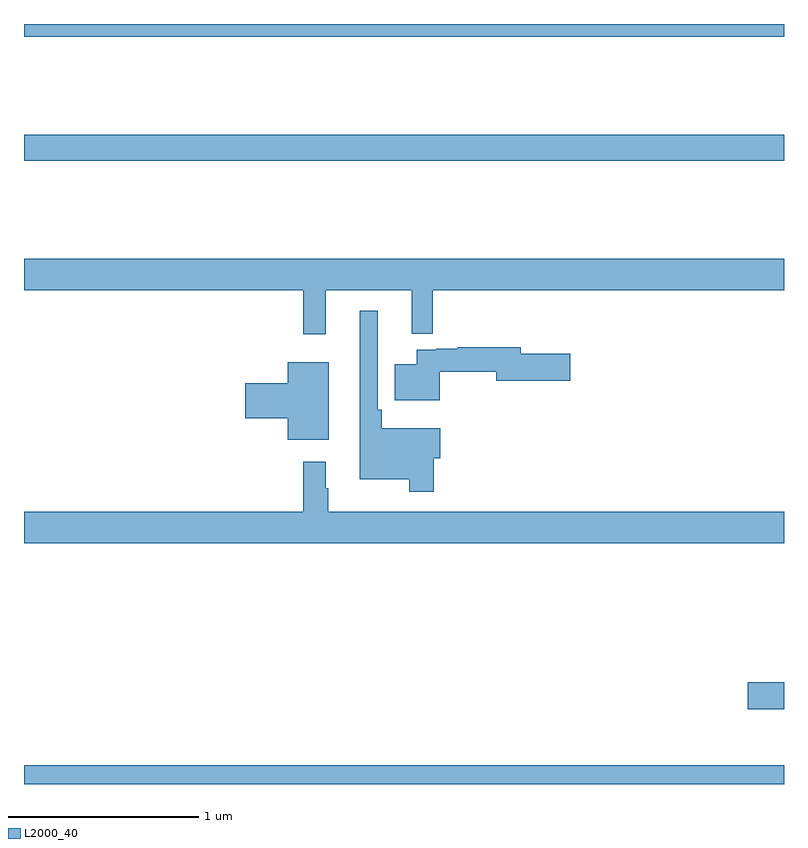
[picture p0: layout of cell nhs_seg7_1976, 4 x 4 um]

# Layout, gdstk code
import gdstk
lib = gdstk.Library(unit=1e-6, precision=1e-09)
def R(c, l, rs):  # rectangles x0, y0, x1, y1
    for r in rs: c.add(gdstk.rectangle(r[:2], r[2:], *l))
def P(c, l, *ps):  # polygons
    for p in ps: c.add(gdstk.Polygon(p, *l))
L2000_40 = (2000, 40)

nhs_seg7_1976 = lib.new_cell('nhs_seg7_1976')
R(nhs_seg7_1976, L2000_40, [(243,1014,247,1014.1), (246.81,1014.394,247,1014.536), (243,1017.28,247,1017.416), (243,1017.932,247,1018)])
P(nhs_seg7_1976, L2000_40, [(244.589,1016.6),(245.042,1016.6),(245.042,1016.371),(245.15,1016.371),(245.15,1016.6),(247,1016.6),(247,1016.764),(243,1016.764),(243,1016.6),(244.471,1016.6),(244.471,1016.367),(244.589,1016.367)],
  [(245.156,1015.715),(245.191,1015.715),(245.191,1015.873),(244.883,1015.873),(244.883,1015.969),(244.863,1015.969),(244.863,1016.491),(244.766,1016.491),(244.766,1015.604),(245.028,1015.604),(245.028,1015.539),(245.156,1015.539)],
  [(245.188,1016.17),(245.486,1016.17),(245.486,1016.123),(245.875,1016.123),(245.875,1016.265),(245.614,1016.265),(245.614,1016.299),(245.284,1016.299),(245.284,1016.292),(245.17,1016.292),(245.17,1016.286),(245.066,1016.286),(245.066,1016.209),(244.952,1016.209),(244.952,1016.021),(245.188,1016.021)],
  [(244.603,1016.221),(244.388,1016.221),(244.388,1016.108),(244.164,1016.108),(244.164,1015.925),(244.388,1015.925),(244.388,1015.811),(244.603,1015.811)],
  [(247,1015.432),(244.6,1015.432),(244.6,1015.556),(244.588,1015.556),(244.588,1015.696),(244.471,1015.696),(244.471,1015.432),(243,1015.432),(243,1015.268),(247,1015.268)])

lib.write_gds('nhs_seg7_1976.gds')
